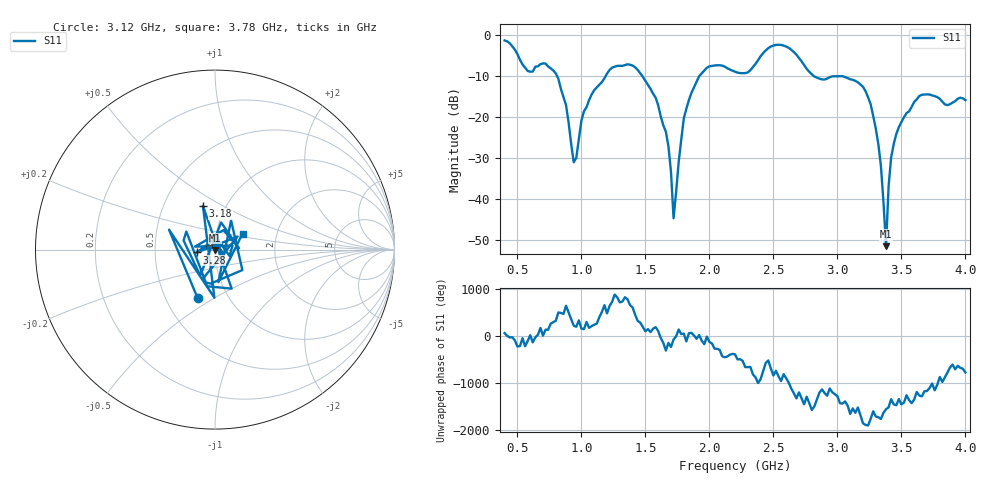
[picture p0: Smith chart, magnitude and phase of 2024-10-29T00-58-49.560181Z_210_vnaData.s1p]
!Created with skrf (http://scikit-rf.org).
# Hz S RI R 50.0
!freq ReS11 ImS11
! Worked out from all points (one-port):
!   181 points, 400 MHz to 4 GHz, reference 50 ohm
!   lowest |S11| = -51.4 dB at 3.38 GHz (marker M1), VSWR 1.01, Z = 49.8 - j0.212 ohm
!   |S11| at or under -10 dB: 811.3 MHz to 1.188 GHz (376.6 MHz wide, 37.7 % of centre); 1.478 GHz to 1.919 GHz (441.3 MHz wide, 26 % of centre); 3.046 GHz to end of sweep (the widest 3 of 4)
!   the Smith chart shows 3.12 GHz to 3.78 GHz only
!   S11 on the Smith chart (normalised r, x): 3.12 GHz: 0.72, -0.42; 3.18 GHz: 0.78, +0.41; 3.28 GHz: 0.81, -0.03; 3.78 GHz: 1.34, +0.24
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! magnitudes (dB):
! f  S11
! 400 MHz  -1.2
! 580 MHz  -8.7
! 780 MHz  -8.5
! 860 MHz  -15.1
! 940 MHz  -30.9
! 1.08 GHz  -14.4
! 1.3 GHz  -7.4
! 1.58 GHz  -15.2
! 1.68 GHz  -27.1
! 1.72 GHz  -44.6
! 1.76 GHz  -30.9
! 1.8 GHz  -20.2
! 1.92 GHz  -9.9
! 2.2 GHz  -8.8
! 2.5 GHz  -2.5
! 2.66 GHz  -4.1
! 2.82 GHz  -10.0
! 3.1 GHz  -10.7
! 3.12 GHz  -10.8
! 3.18 GHz  -12.0
! 3.28 GHz  -19.7
! 3.34 GHz  -31.8
! 3.38 GHz  -51.4
! 3.4 GHz  -36.8
! 3.42 GHz  -29.8
! 3.56 GHz  -18.5
! 3.78 GHz  -15.0
! 4 GHz  -15.8
